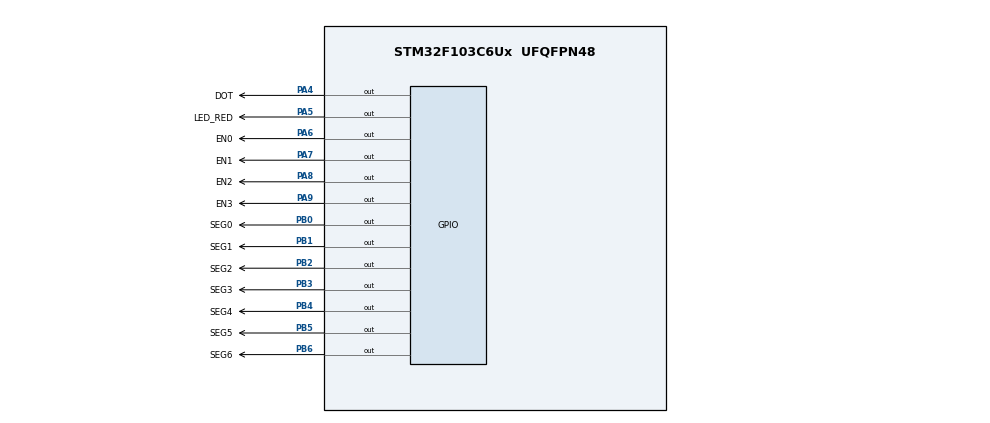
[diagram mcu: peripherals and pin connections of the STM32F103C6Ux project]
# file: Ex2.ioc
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Mcu.Family=STM32F1
Mcu.Name=STM32F103C6Ux
Mcu.Package=UFQFPN48
NVIC.PriorityGroup=NVIC_PRIORITYGROUP_4
NVIC.TIM2_IRQn=true\:0\:0\:false\:false\:true\:true\:true
PA4.GPIO_Label=DOT
PA4.Signal=GPIO_Output
PA5.GPIO_Label=LED_RED
PA5.Signal=GPIO_Output
PA6.GPIO_Label=EN0
PA6.Signal=GPIO_Output
PA7.GPIO_Label=EN1
PA7.Signal=GPIO_Output
PA8.GPIO_Label=EN2
PA8.Signal=GPIO_Output
PA9.GPIO_Label=EN3
PA9.Signal=GPIO_Output
PB0.GPIO_Label=SEG0
PB0.Signal=GPIO_Output
PB1.GPIO_Label=SEG1
PB1.Signal=GPIO_Output
PB2.GPIO_Label=SEG2
PB2.Signal=GPIO_Output
PB3.GPIO_Label=SEG3
PB3.Signal=GPIO_Output
PB4.GPIO_Label=SEG4
PB4.Signal=GPIO_Output
PB5.GPIO_Label=SEG5
PB5.Signal=GPIO_Output
PB6.GPIO_Label=SEG6
PB6.Signal=GPIO_Output
ProjectManager.HeapSize=0x200
ProjectManager.StackSize=0x400
ProjectManager.TargetToolchain=STM32CubeIDE
RCC.APB1Freq_Value=8000000
RCC.APB2Freq_Value=8000000
TIM2.Period=9
TIM2.Prescaler=7999
VP_SYS_VS_ND.Mode=No_Debug
VP_TIM2_VS_ClockSourceINT.Mode=Internal
board=custom

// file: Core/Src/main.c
/* USER CODE BEGIN Header */
/**
  ******************************************************************************
  * @file           : main.c
  * @brief          : Main program body
  ******************************************************************************
  * @attention
  *
  * <h2><center>&copy; Copyright (c) 2022 STMicroelectronics.
  * All rights reserved.</center></h2>
  *
  * This software component is licensed by ST under BSD 3-Clause license,
  * the "License"; You may not use this file except in compliance with the
  * License. You may obtain a copy of the License at:
  *                        opensource.org/licenses/BSD-3-Clause
  *
  ******************************************************************************
  */
/* USER CODE END Header */
#include "main.h"

/* USER CODE BEGIN Includes */
#include "software_timer.h"
/* USER CODE END Includes */

TIM_HandleTypeDef htim2;

void SystemClock_Config(void);
static void MX_GPIO_Init(void);
static void MX_TIM2_Init(void);

/* USER CODE BEGIN 0 */
void display7SEG(int num){
	switch(num){
	case 0:
		HAL_GPIO_WritePin(SEG0_GPIO_Port, SEG0_Pin, 0);
		HAL_GPIO_WritePin(SEG1_GPIO_Port, SEG1_Pin, 0);
		HAL_GPIO_WritePin(SEG2_GPIO_Port, SEG2_Pin, 0);
		HAL_GPIO_WritePin(SEG3_GPIO_Port, SEG3_Pin, 0);
		HAL_GPIO_WritePin(SEG4_GPIO_Port, SEG4_Pin, 0);
		HAL_GPIO_WritePin(SEG5_GPIO_Port, SEG5_Pin, 0);
		HAL_GPIO_WritePin(SEG6_GPIO_Port, SEG6_Pin, 1);
		break;
	case 1:
		HAL_GPIO_WritePin(SEG0_GPIO_Port, SEG0_Pin, 1);
		HAL_GPIO_WritePin(SEG1_GPIO_Port, SEG1_Pin, 0);
		HAL_GPIO_WritePin(SEG2_GPIO_Port, SEG2_Pin, 0);
		HAL_GPIO_WritePin(SEG3_GPIO_Port, SEG3_Pin, 1);
		HAL_GPIO_WritePin(SEG4_GPIO_Port, SEG4_Pin, 1);
		HAL_GPIO_WritePin(SEG5_GPIO_Port, SEG5_Pin, 1);
		HAL_GPIO_WritePin(SEG6_GPIO_Port, SEG6_Pin, 1);
		break;
	case 2:
		HAL_GPIO_WritePin(SEG0_GPIO_Port, SEG0_Pin, 0);
		HAL_GPIO_WritePin(SEG1_GPIO_Port, SEG1_Pin, 0);
		HAL_GPIO_WritePin(SEG2_GPIO_Port, SEG2_Pin, 1);
		HAL_GPIO_WritePin(SEG3_GPIO_Port, SEG3_Pin, 0);
		HAL_GPIO_WritePin(SEG4_GPIO_Port, SEG4_Pin, 0);
		HAL_GPIO_WritePin(SEG5_GPIO_Port, SEG5_Pin, 1);
		HAL_GPIO_WritePin(SEG6_GPIO_Port, SEG6_Pin, 0);
		break;
	case 3:
		HAL_GPIO_WritePin(SEG0_GPIO_Port, SEG0_Pin, 0);
		HAL_GPIO_WritePin(SEG1_GPIO_Port, SEG1_Pin, 0);
		HAL_GPIO_WritePin(SEG2_GPIO_Port, SEG2_Pin, 0);
		HAL_GPIO_WritePin(SEG3_GPIO_Port, SEG3_Pin, 0);
		HAL_GPIO_WritePin(SEG4_GPIO_Port, SEG4_Pin, 1);
		HAL_GPIO_WritePin(SEG5_GPIO_Port, SEG5_Pin, 1);
		HAL_GPIO_WritePin(SEG6_GPIO_Port, SEG6_Pin, 0);
		break;
	case 4:
		HAL_GPIO_WritePin(SEG0_GPIO_Port, SEG0_Pin, 1);
		HAL_GPIO_WritePin(SEG1_GPIO_Port, SEG1_Pin, 0);
		HAL_GPIO_WritePin(SEG2_GPIO_Port, SEG2_Pin, 0);
		HAL_GPIO_WritePin(SEG3_GPIO_Port, SEG3_Pin, 1);
		HAL_GPIO_WritePin(SEG4_GPIO_Port, SEG4_Pin, 1);
		HAL_GPIO_WritePin(SEG5_GPIO_Port, SEG5_Pin, 0);
		HAL_GPIO_WritePin(SEG6_GPIO_Port, SEG6_Pin, 0);
		break;
	case 5:
		HAL_GPIO_WritePin(SEG0_GPIO_Port, SEG0_Pin, 0);
		HAL_GPIO_WritePin(SEG1_GPIO_Port, SEG1_Pin, 1);
		HAL_GPIO_WritePin(SEG2_GPIO_Port, SEG2_Pin, 0);
		HAL_GPIO_WritePin(SEG3_GPIO_Port, SEG3_Pin, 0);
		HAL_GPIO_WritePin(SEG4_GPIO_Port, SEG4_Pin, 1);
		HAL_GPIO_WritePin(SEG5_GPIO_Port, SEG5_Pin, 0);
		HAL_GPIO_WritePin(SEG6_GPIO_Port, SEG6_Pin, 0);
		break;
	case 6:
		HAL_GPIO_WritePin(SEG0_GPIO_Port, SEG0_Pin, 0);
		HAL_GPIO_WritePin(SEG1_GPIO_Port, SEG1_Pin, 1);
		HAL_GPIO_WritePin(SEG2_GPIO_Port, SEG2_Pin, 0);
		HAL_GPIO_WritePin(SEG3_GPIO_Port, SEG3_Pin, 0);
		HAL_GPIO_WritePin(SEG4_GPIO_Port, SEG4_Pin, 0);
		HAL_GPIO_WritePin(SEG5_GPIO_Port, SEG5_Pin, 0);
		HAL_GPIO_WritePin(SEG6_GPIO_Port, SEG6_Pin, 0);
		break;
	case 7:
		HAL_GPIO_WritePin(SEG0_GPIO_Port, SEG0_Pin, 0);
		HAL_GPIO_WritePin(SEG1_GPIO_Port, SEG1_Pin, 0);
		HAL_GPIO_WritePin(SEG2_GPIO_Port, SEG2_Pin, 0);
		HAL_GPIO_WritePin(SEG3_GPIO_Port, SEG3_Pin, 1);
		HAL_GPIO_WritePin(SEG4_GPIO_Port, SEG4_Pin, 1);
		HAL_GPIO_WritePin(SEG5_GPIO_Port, SEG5_Pin, 1);
		HAL_GPIO_WritePin(SEG6_GPIO_Port, SEG6_Pin, 1);
		break;
	case 8:
		HAL_GPIO_WritePin(SEG0_GPIO_Port, SEG0_Pin, 0);
		HAL_GPIO_WritePin(SEG1_GPIO_Port, SEG1_Pin, 0);
		HAL_GPIO_WritePin(SEG2_GPIO_Port, SEG2_Pin, 0);
		HAL_GPIO_WritePin(SEG3_GPIO_Port, SEG3_Pin, 0);
		HAL_GPIO_WritePin(SEG4_GPIO_Port, SEG4_Pin, 0);
		HAL_GPIO_WritePin(SEG5_GPIO_Port, SEG5_Pin, 0);
		HAL_GPIO_WritePin(SEG6_GPIO_Port, SEG6_Pin, 0);
		break;
	case 9:
		HAL_GPIO_WritePin(SEG0_GPIO_Port, SEG0_Pin, 0);
		HAL_GPIO_WritePin(SEG1_GPIO_Port, SEG1_Pin, 0);
		HAL_GPIO_WritePin(SEG2_GPIO_Port, SEG2_Pin, 0);
		HAL_GPIO_WritePin(SEG3_GPIO_Port, SEG3_Pin, 0);
		HAL_GPIO_WritePin(SEG4_GPIO_Port, SEG4_Pin, 1);
		HAL_GPIO_WritePin(SEG5_GPIO_Port, SEG5_Pin, 0);
		HAL_GPIO_WritePin(SEG6_GPIO_Port, SEG6_Pin, 0);
		break;
	default:
		HAL_GPIO_WritePin(SEG0_GPIO_Port, SEG0_Pin, 1);
		HAL_GPIO_WritePin(SEG1_GPIO_Port, SEG1_Pin, 1);
		HAL_GPIO_WritePin(SEG2_GPIO_Port, SEG2_Pin, 1);
		HAL_GPIO_WritePin(SEG3_GPIO_Port, SEG3_Pin, 1);
		HAL_GPIO_WritePin(SEG4_GPIO_Port, SEG4_Pin, 1);
		HAL_GPIO_WritePin(SEG5_GPIO_Port, SEG5_Pin, 1);
		HAL_GPIO_WritePin(SEG6_GPIO_Port, SEG6_Pin, 1);
		break;
	}
}
/* USER CODE END 0 */

int main(void)
{

  /* MCU Configuration--------------------------------------------------------*/

  /* Reset of all peripherals, Initializes the Flash interface and the Systick. */
  HAL_Init();

  /* Configure the system clock */
  SystemClock_Config();

  /* Initialize all configured peripherals */
  MX_GPIO_Init();
  MX_TIM2_Init();
  /* USER CODE BEGIN 2 */
  HAL_TIM_Base_Start_IT(&htim2);
  /* USER CODE END 2 */

  /* Infinite loop */
  /* USER CODE BEGIN WHILE */
  setTimer1(3);
  setTimer2(13);
  setTimer3(53);
  int status =0;
  while (1)
  {
    /* USER CODE END WHILE */
	  if (timer1_flag == 1){
		  setTimer1(100);
		  switch (status){
		  case 0:
			  status++;
			  HAL_GPIO_WritePin(EN3_GPIO_Port, EN3_Pin, 1);
			  HAL_GPIO_WritePin(EN0_GPIO_Port, EN0_Pin, 0);
			  display7SEG(1);
			  break;
		  case 2:
			  status++;
			  HAL_GPIO_WritePin(EN1_GPIO_Port, EN1_Pin, 1);
			  HAL_GPIO_WritePin(EN2_GPIO_Port, EN2_Pin, 0);
			  display7SEG(3);
			  break;
		  default:
			  break;
		  }
	  }

	  if (timer3_flag == 1) {
		  setTimer3(100);
		  switch (status){
		  case 1:
			  status++;
			  HAL_GPIO_WritePin(EN0_GPIO_Port, EN0_Pin, 1);
			  HAL_GPIO_WritePin(EN1_GPIO_Port, EN1_Pin, 0);
			  display7SEG(2);
			  break;
		  case 3:
			  status = 0;
			  HAL_GPIO_WritePin(EN2_GPIO_Port, EN2_Pin, 1);
			  HAL_GPIO_WritePin(EN3_GPIO_Port, EN3_Pin, 0);
			  display7SEG(0);
			  break;
		  default:
			  break;
		  }
	  }

	  if (timer2_flag == 1){
		  setTimer2(50);
		  HAL_GPIO_TogglePin(DOT_GPIO_Port, DOT_Pin);
		  HAL_GPIO_TogglePin(LED_RED_GPIO_Port, LED_RED_Pin);
	  }
  }
}

void SystemClock_Config(void)
{
  RCC_OscInitTypeDef RCC_OscInitStruct = {0};
  RCC_ClkInitTypeDef RCC_ClkInitStruct = {0};

  /** Initializes the RCC Oscillators according to the specified parameters
  * in the RCC_OscInitTypeDef structure.
  */
  RCC_OscInitStruct.OscillatorType = RCC_OSCILLATORTYPE_HSI;
  RCC_OscInitStruct.HSIState = RCC_HSI_ON;
  RCC_OscInitStruct.HSICalibrationValue = RCC_HSICALIBRATION_DEFAULT;
  RCC_OscInitStruct.PLL.PLLState = RCC_PLL_NONE;
  if (HAL_RCC_OscConfig(&RCC_OscInitStruct) != HAL_OK)
  {
    Error_Handler();
  }
  /** Initializes the CPU, AHB and APB buses clocks
  */
  RCC_ClkInitStruct.ClockType = RCC_CLOCKTYPE_HCLK|RCC_CLOCKTYPE_SYSCLK
                              |RCC_CLOCKTYPE_PCLK1|RCC_CLOCKTYPE_PCLK2;
  RCC_ClkInitStruct.SYSCLKSource = RCC_SYSCLKSOURCE_HSI;
  RCC_ClkInitStruct.AHBCLKDivider = RCC_SYSCLK_DIV1;
  RCC_ClkInitStruct.APB1CLKDivider = RCC_HCLK_DIV1;
  RCC_ClkInitStruct.APB2CLKDivider = RCC_HCLK_DIV1;

  if (HAL_RCC_ClockConfig(&RCC_ClkInitStruct, FLASH_LATENCY_0) != HAL_OK)
  {
    Error_Handler();
  }
}

static void MX_TIM2_Init(void)
{

  TIM_ClockConfigTypeDef sClockSourceConfig = {0};
  TIM_MasterConfigTypeDef sMasterConfig = {0};

  htim2.Instance = TIM2;
  htim2.Init.Prescaler = 7999;
  htim2.Init.CounterMode = TIM_COUNTERMODE_UP;
  htim2.Init.Period = 9;
  htim2.Init.ClockDivision = TIM_CLOCKDIVISION_DIV1;
  htim2.Init.AutoReloadPreload = TIM_AUTORELOAD_PRELOAD_DISABLE;
  if (HAL_TIM_Base_Init(&htim2) != HAL_OK)
  {
    Error_Handler();
  }
  sClockSourceConfig.ClockSource = TIM_CLOCKSOURCE_INTERNAL;
  if (HAL_TIM_ConfigClockSource(&htim2, &sClockSourceConfig) != HAL_OK)
  {
    Error_Handler();
  }
  sMasterConfig.MasterOutputTrigger = TIM_TRGO_RESET;
  sMasterConfig.MasterSlaveMode = TIM_MASTERSLAVEMODE_DISABLE;
  if (HAL_TIMEx_MasterConfigSynchronization(&htim2, &sMasterConfig) != HAL_OK)
  {
    Error_Handler();
  }

}

static void MX_GPIO_Init(void)
{
  GPIO_InitTypeDef GPIO_InitStruct = {0};

  /* GPIO Ports Clock Enable */
  __HAL_RCC_GPIOA_CLK_ENABLE();
  __HAL_RCC_GPIOB_CLK_ENABLE();

  /*Configure GPIO pin Output Level */
  HAL_GPIO_WritePin(GPIOA, DOT_Pin|LED_RED_Pin|EN0_Pin|EN1_Pin
                          |EN2_Pin|EN3_Pin, GPIO_PIN_RESET);

  /*Configure GPIO pin Output Level */
  HAL_GPIO_WritePin(GPIOB, SEG0_Pin|SEG1_Pin|SEG2_Pin|SEG3_Pin
                          |SEG4_Pin|SEG5_Pin|SEG6_Pin, GPIO_PIN_RESET);

  /*Configure GPIO pins : DOT_Pin LED_RED_Pin EN0_Pin EN1_Pin
                           EN2_Pin EN3_Pin */
  GPIO_InitStruct.Pin = DOT_Pin|LED_RED_Pin|EN0_Pin|EN1_Pin
                          |EN2_Pin|EN3_Pin;
  GPIO_InitStruct.Mode = GPIO_MODE_OUTPUT_PP;
  GPIO_InitStruct.Pull = GPIO_NOPULL;
  GPIO_InitStruct.Speed = GPIO_SPEED_FREQ_LOW;
  HAL_GPIO_Init(GPIOA, &GPIO_InitStruct);

  /*Configure GPIO pins : SEG0_Pin SEG1_Pin SEG2_Pin SEG3_Pin
                           SEG4_Pin SEG5_Pin SEG6_Pin */
  GPIO_InitStruct.Pin = SEG0_Pin|SEG1_Pin|SEG2_Pin|SEG3_Pin
                          |SEG4_Pin|SEG5_Pin|SEG6_Pin;
  GPIO_InitStruct.Mode = GPIO_MODE_OUTPUT_PP;
  GPIO_InitStruct.Pull = GPIO_NOPULL;
  GPIO_InitStruct.Speed = GPIO_SPEED_FREQ_LOW;
  HAL_GPIO_Init(GPIOB, &GPIO_InitStruct);

}

/* USER CODE BEGIN 4 */
void HAL_TIM_PeriodElapsedCallback(TIM_HandleTypeDef *htim){
	timerRun();
}
/* USER CODE END 4 */

void Error_Handler(void)
{
  __disable_irq();
  while (1)
  {
  }
}

/************************ (C) COPYRIGHT STMicroelectronics *****END OF FILE****/
